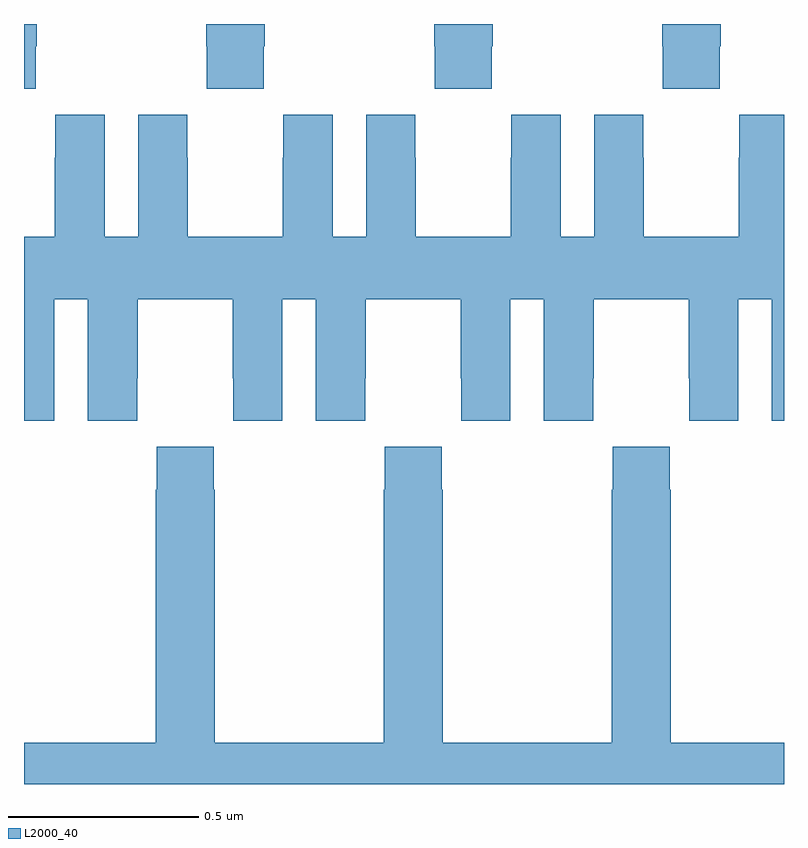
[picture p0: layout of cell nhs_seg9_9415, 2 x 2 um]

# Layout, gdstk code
import gdstk
lib = gdstk.Library(unit=1e-6, precision=1e-09)
def P(c, l, *ps):  # polygons
    for p in ps: c.add(gdstk.Polygon(p, *l))
L2000_40 = (2000, 40)

nhs_seg9_9415 = lib.new_cell('nhs_seg9_9415')
P(nhs_seg9_9415, L2000_40, [(230.631,1174.441),(230.634,1174.441),(230.634,1174.5),(230.479,1174.5),(230.479,1174.441),(230.481,1174.441),(230.481,1174.329),(230.631,1174.329)],
  [(231.231,1174.441),(231.234,1174.441),(231.234,1174.5),(231.079,1174.5),(231.079,1174.441),(231.081,1174.441),(231.081,1174.329),(231.231,1174.329)],
  [(231.831,1174.441),(231.834,1174.441),(231.834,1174.5),(231.679,1174.5),(231.679,1174.441),(231.681,1174.441),(231.681,1174.329),(231.831,1174.329)],
  [(230.031,1174.441),(230.034,1174.441),(230.034,1174.5),(230,1174.5),(230,1174.329),(230.031,1174.329)],
  [(230,1173.456),(230.08,1173.456),(230.08,1173.776),(230.168,1173.776),(230.168,1173.456),(230.298,1173.456),(230.298,1173.568),(230.299,1173.568),(230.299,1173.776),(230.549,1173.776),(230.549,1173.568),(230.55,1173.568),(230.55,1173.456),(230.68,1173.456),(230.68,1173.776),(230.768,1173.776),(230.768,1173.456),(230.898,1173.456),(230.898,1173.568),(230.899,1173.568),(230.899,1173.776),(231.149,1173.776),(231.149,1173.568),(231.15,1173.568),(231.15,1173.456),(231.28,1173.456),(231.28,1173.776),(231.368,1173.776),(231.368,1173.456),(231.498,1173.456),(231.498,1173.568),(231.499,1173.568),(231.499,1173.776),(231.749,1173.776),(231.749,1173.568),(231.75,1173.568),(231.75,1173.456),(231.88,1173.456),(231.88,1173.776),(231.968,1173.776),(231.968,1173.456),(232,1173.456),(232,1174.261),(231.882,1174.261),(231.882,1174.148),(231.881,1174.148),(231.881,1173.94),(231.631,1173.94),(231.631,1174.148),(231.63,1174.148),(231.63,1174.261),(231.5,1174.261),(231.5,1173.94),(231.412,1173.94),(231.412,1174.261),(231.282,1174.261),(231.282,1174.148),(231.281,1174.148),(231.281,1173.94),(231.031,1173.94),(231.031,1174.148),(231.03,1174.148),(231.03,1174.261),(230.9,1174.261),(230.9,1173.94),(230.812,1173.94),(230.812,1174.261),(230.682,1174.261),(230.682,1174.148),(230.681,1174.148),(230.681,1173.94),(230.431,1173.94),(230.431,1174.148),(230.43,1174.148),(230.43,1174.261),(230.3,1174.261),(230.3,1173.94),(230.212,1173.94),(230.212,1174.261),(230.082,1174.261),(230.082,1174.148),(230.081,1174.148),(230.081,1173.94),(230,1173.94)],
  [(232,1172.608),(231.702,1172.608),(231.702,1173.275),(231.699,1173.275),(231.699,1173.388),(231.549,1173.388),(231.549,1173.275),(231.547,1173.275),(231.547,1172.608),(231.102,1172.608),(231.102,1173.275),(231.099,1173.275),(231.099,1173.388),(230.949,1173.388),(230.949,1173.275),(230.947,1173.275),(230.947,1172.608),(230.502,1172.608),(230.502,1173.275),(230.499,1173.275),(230.499,1173.388),(230.349,1173.388),(230.349,1173.275),(230.347,1173.275),(230.347,1172.608),(230,1172.608),(230,1172.5),(232,1172.5)])

lib.write_gds('nhs_seg9_9415.gds')
